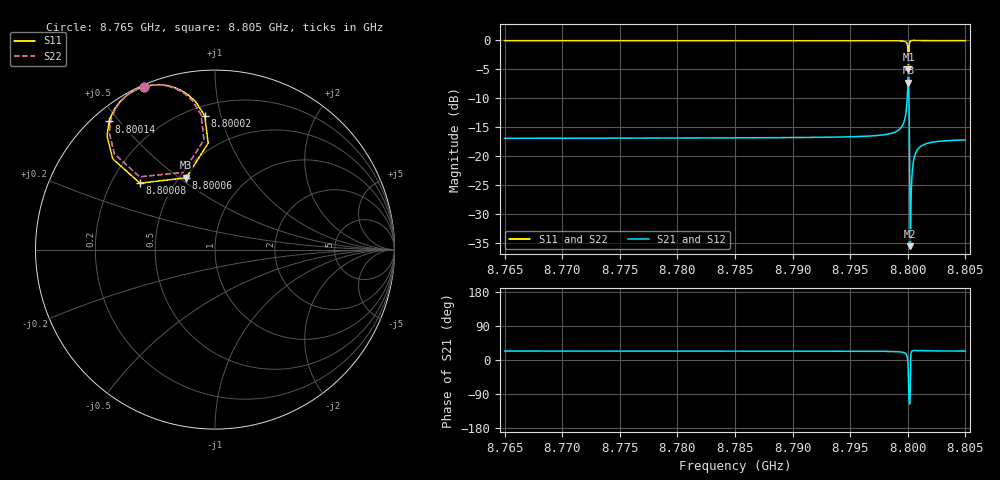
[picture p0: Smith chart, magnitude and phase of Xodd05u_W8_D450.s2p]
! Sonnet Data File
! From: emgraph Version : 16.52
! From Project: Qubit_Xmon2_brg_para2
! Data is De-embedded
! Data File Written: 11/12/2017 21:29:58
!< HDATE 11/12/2017 19:10:47
!< MDATE 11/12/2017 19:10:47
!< PARAMS
!< Lj = 11.0
!< Gap = 6.0
!< Pwid = 2000.0
!< Airgap = 6.0
!< Width = 10.0
!< Bwid = 8.0
!< Dis1 = 450.0
!< Dis2 = 456.0
!< END PARAMS
# GHZ S MA R 34.65000
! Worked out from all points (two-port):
!   2001 points, 8.765 GHz to 8.805 GHz, reference 34.65 ohm
!   highest |S21| = -5.00 dB at 8.80006 GHz (marker M1); lowest = -35.5 dB at 8.80022 GHz (marker M2)
!   |S21| within 3 dB of the highest: 8.799996 GHz to 8.80009 GHz (94.07 kHz wide, 0.00107 % of centre)
!   lowest |S11| = -7.3 dB at 8.80006 GHz (marker M3), VSWR 2.52, Z = 18.7 + j18.4 ohm
!   |S11| at or under -10 dB: nowhere
!   |S22| runs from -6.6 to -0.1 dB; largest |S21 - S12| = 0
!   S11 on the Smith chart (normalised r, x): 8.765 GHz: 0.01, +0.65; 8.80002 GHz: 0.26, +0.89; 8.80006 GHz: 0.54, +0.53; 8.80008 GHz: 0.32, +0.34; 8.80014 GHz: 0.05, +0.47; 8.805 GHz: 0.01, +0.65
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8.765  0.9898 113.7  0.1427 23.6  0.1427 23.6  0.9898 113.5
!< P1 F=8.765 Eeff=(5.13709823 -5.6953e-5) Z0=(34.64455 -9.67e-5) R=0.0 C=0.0
!< P2 F=8.765 Eeff=(5.13709823 -5.6953e-5) Z0=(34.64455 -9.67e-5) R=0.0 C=0.0
8.77168  0.9897 113.6  0.1429 23.5  0.1429 23.5  0.9897 113.5
8.77834  0.9897 113.6  0.1433 23.5  0.1433 23.5  0.9897 113.4
8.785  0.9896 113.5  0.1439 23.4  0.1439 23.4  0.9896 113.3
8.79168  0.9894 113.4  0.1452 23.3  0.1452 23.3  0.9894 113.2
8.79834  0.9877 112.7  0.1555 22.6  0.1555 22.6  0.9877 112.6
8.7995  0.982 111.1  0.1815 20.7  0.1815 20.7  0.9821 111.1
8.7998  0.9686 108.6  0.2237 17.1  0.2237 17.1  0.969 108.7
8.79986  0.9593 107.2  0.2458 15.1  0.2458 15.1  0.9599 107.5
8.79992  0.9393 104.9  0.284 11.3  0.284 11.3  0.9405 105.3
8.79998  0.8806 100.2  0.3621 2.4  0.3621 2.4  0.8839 101.0
8.80002  0.7475 94.4  0.4673 -12.7  0.4673 -12.7  0.7568 95.9
8.80006  0.431 111.8  0.5621 -50.9  0.5621 -50.9  0.4659 112.5
8.80008  0.5582 138.5  0.4757 -77.3  0.4757 -77.3  0.5836 136.0
8.80014  0.9261 129.6  0.1436 -114.8  0.1436 -114.8  0.9302 128.4
8.80022  0.9827 121.9  0.01678 -59.5  0.01678 -59.5  0.9837 121.2
8.80028  0.9901 119.6  0.03963 16.4  0.03963 16.4  0.9906 119.1
8.80036  0.9928 118.0  0.06679 23.7  0.06679 23.7  0.9932 117.5
8.8005  0.9936 116.5  0.09113 25.0  0.09113 25.0  0.9937 116.2
8.8006  0.9934 116.0  0.1008 25.0  0.1008 25.0  0.9935 115.6
8.8011  0.9922 114.7  0.1211 24.4  0.1211 24.4  0.9923 114.5
8.805  0.9904 113.7  0.1382 23.6  0.1382 23.6  0.9904 113.5
